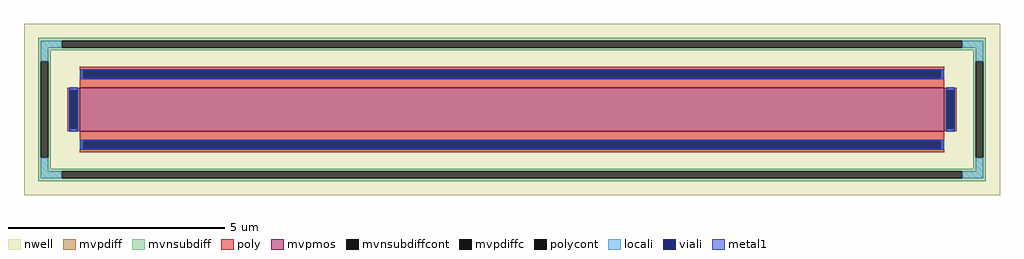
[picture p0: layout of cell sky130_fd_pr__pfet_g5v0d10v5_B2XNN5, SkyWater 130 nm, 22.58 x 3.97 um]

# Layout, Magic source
magic
tech sky130A
magscale 1 2
<< nwell >>
rect -2258 -397 2258 397
<< mvpmos >>
rect -2000 -100 2000 100
<< mvpdiff >>
rect -2058 88 -2000 100
rect -2058 -88 -2046 88
rect -2012 -88 -2000 88
rect -2058 -100 -2000 -88
rect 2000 88 2058 100
rect 2000 -88 2012 88
rect 2046 -88 2058 88
rect 2000 -100 2058 -88
<< mvpdiffc >>
rect -2046 -88 -2012 88
rect 2012 -88 2046 88
<< mvnsubdiff >>
rect -2192 319 2192 331
rect -2192 285 -2084 319
rect 2084 285 2192 319
rect -2192 273 2192 285
rect -2192 223 -2134 273
rect -2192 -223 -2180 223
rect -2146 -223 -2134 223
rect 2134 223 2192 273
rect -2192 -273 -2134 -223
rect 2134 -223 2146 223
rect 2180 -223 2192 223
rect 2134 -273 2192 -223
rect -2192 -285 2192 -273
rect -2192 -319 -2084 -285
rect 2084 -319 2192 -285
rect -2192 -331 2192 -319
<< mvnsubdiffcont >>
rect -2084 285 2084 319
rect -2180 -223 -2146 223
rect 2146 -223 2180 223
rect -2084 -319 2084 -285
<< poly >>
rect -2000 181 2000 197
rect -2000 147 -1984 181
rect 1984 147 2000 181
rect -2000 100 2000 147
rect -2000 -147 2000 -100
rect -2000 -181 -1984 -147
rect 1984 -181 2000 -147
rect -2000 -197 2000 -181
<< polycont >>
rect -1984 147 1984 181
rect -1984 -181 1984 -147
<< locali >>
rect -2180 285 -2084 319
rect 2084 285 2180 319
rect -2180 223 -2146 285
rect 2146 223 2180 285
rect -2000 147 -1984 181
rect 1984 147 2000 181
rect -2046 88 -2012 104
rect -2046 -104 -2012 -88
rect 2012 88 2046 104
rect 2012 -104 2046 -88
rect -2000 -181 -1984 -147
rect 1984 -181 2000 -147
rect -2180 -285 -2146 -223
rect 2146 -285 2180 -223
rect -2180 -319 -2084 -285
rect 2084 -319 2180 -285
<< viali >>
rect -1984 147 1984 181
rect -2046 -88 -2012 88
rect 2012 -88 2046 88
rect -1984 -181 1984 -147
<< metal1 >>
rect -1996 181 1996 187
rect -1996 147 -1984 181
rect 1984 147 1996 181
rect -1996 141 1996 147
rect -2052 88 -2006 100
rect -2052 -88 -2046 88
rect -2012 -88 -2006 88
rect -2052 -100 -2006 -88
rect 2006 88 2052 100
rect 2006 -88 2012 88
rect 2046 -88 2052 88
rect 2006 -100 2052 -88
rect -1996 -147 1996 -141
rect -1996 -181 -1984 -147
rect 1984 -181 1996 -147
rect -1996 -187 1996 -181
<< properties >>
string FIXED_BBOX -2163 -302 2163 302
string gencell sky130_fd_pr__pfet_g5v0d10v5
string library sky130
string parameters w 1.0 l 20.0 m 1 nf 1 diffcov 100 polycov 100 guard 1 glc 1 grc 1 gtc 1 gbc 1 tbcov 100 rlcov 100 topc 1 botc 1 poverlap 0 doverlap 1 lmin 0.50 wmin 0.42 compatible {sky130_fd_pr__pfet_01v8  sky130_fd_pr__pfet_01v8_lvt sky130_fd_pr__pfet_01v8_hvt  sky130_fd_pr__pfet_g5v0d10v5} full_metal 1 viasrc 100 viadrn 100 viagate 100 viagb 0 viagr 0 viagl 0 viagt 0
<< end >>
